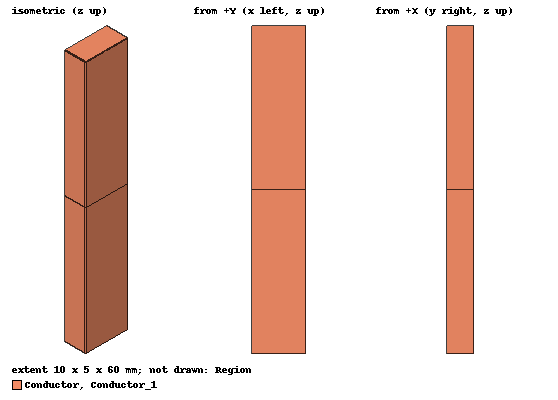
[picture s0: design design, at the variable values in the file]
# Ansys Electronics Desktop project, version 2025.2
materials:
  vacuum: permittivity=1
  copper: permeability=0.999991 conductivity=58000000

design design (Maxwell 3D, Transient APhi, model units mm)
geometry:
  Conductor [copper] = box(corner=(7mm, 4mm, 22mm), size=(10mm, 5mm, 30mm))
  Conductor.move(15mm, -25mm, 0mm)
  Conductor.move(-22mm, 21mm, -22mm)
  Conductor_1 [copper] = Conductor.duplicate_along_line(step=(-1.7763568e-15mm, 0mm, 30mm), total=2)
  Region [vacuum] = region(percentage_offset: +X=100, -X=100, +Y=100, -Y=100, +Z=0, -Z=0)
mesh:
  initial mesh: GlobalCurvilinear{Apply}
